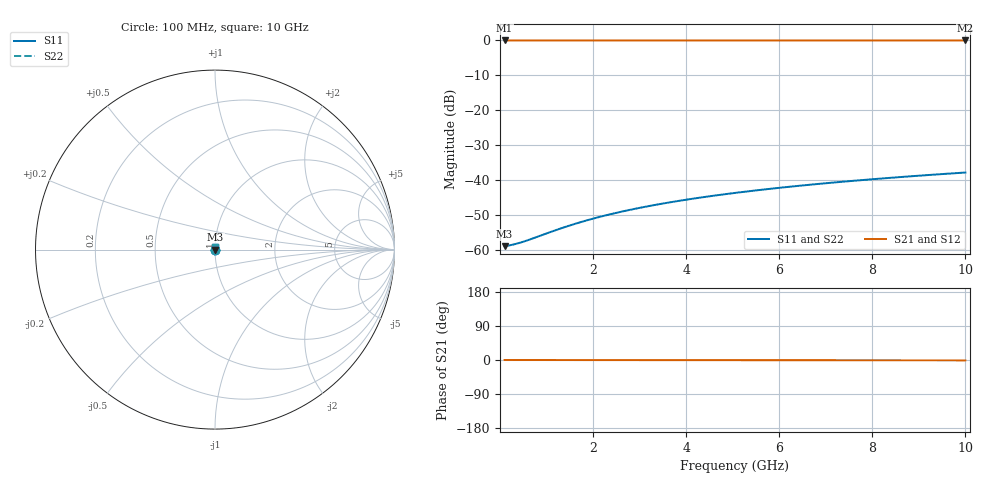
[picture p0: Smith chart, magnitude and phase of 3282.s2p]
# Hz S RI R 50.00
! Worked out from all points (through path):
!   100 points, 100 MHz to 10 GHz, reference 50 ohm
!   highest |S21| = -0.01 dB at 100 MHz (marker M1); lowest = 0.0 dB at 10 GHz (marker M2)
!   lowest |S11| = -58.9 dB at 100 MHz (marker M3), VSWR 1.00, Z = 50.1 + j0.0128 ohm
!   |S11| at or under -10 dB: start of sweep to end of sweep
!   |S22| runs from -58.9 to -37.8 dB; largest |S21 - S12| = 1e-14
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1e8  0.00113 0.000128  0.9989 -0.000167  0.9989 -0.000167  0.00113 0.000128
2e8  0.00114 0.000256  0.9989 -0.000335  0.9989 -0.000335  0.00114 0.000256
3e8  0.00115 0.000384  0.9989 -0.000502  0.9989 -0.000502  0.00115 0.000384
5e8  0.00115 0.000639  0.9988 -0.000837  0.9988 -0.000837  0.00115 0.000639
7e8  0.00116 0.000895  0.9988 -0.00117  0.9988 -0.00117  0.00116 0.000895
1.3e9  0.00118 0.00166  0.9988 -0.00218  0.9988 -0.00218  0.00118 0.00166
1.5e9  0.00118 0.00192  0.9988 -0.00251  0.9988 -0.00251  0.00118 0.00192
1.8e9  0.00119 0.0023  0.9988 -0.00301  0.9988 -0.00301  0.00119 0.0023
2.1e9  0.0012 0.00269  0.9988 -0.00352  0.9988 -0.00352  0.0012 0.00269
2.5e9  0.0012 0.0032  0.9988 -0.00419  0.9988 -0.00419  0.0012 0.0032
2.9e9  0.00121 0.00371  0.9988 -0.00486  0.9988 -0.00486  0.00121 0.00371
3.4e9  0.00123 0.00435  0.9988 -0.00569  0.9988 -0.00569  0.00123 0.00435
3.8e9  0.00124 0.00486  0.9988 -0.00636  0.9988 -0.00636  0.00124 0.00486
4.2e9  0.00125 0.00537  0.9987 -0.00703  0.9987 -0.00703  0.00125 0.00537
4.6e9  0.00126 0.00588  0.9987 -0.0077  0.9987 -0.0077  0.00126 0.00588
5.1e9  0.00127 0.00652  0.9987 -0.00854  0.9987 -0.00854  0.00127 0.00652
5.9e9  0.0013 0.00755  0.9987 -0.00988  0.9987 -0.00988  0.0013 0.00755
6.7e9  0.00132 0.00857  0.9987 -0.0112  0.9987 -0.0112  0.00132 0.00857
7.5e9  0.00135 0.0096  0.9986 -0.0126  0.9986 -0.0126  0.00135 0.0096
8.4e9  0.00139 0.0108  0.9986 -0.0141  0.9986 -0.0141  0.00139 0.0108
9.2e9  0.00143 0.0118  0.9986 -0.0154  0.9986 -0.0154  0.00143 0.0118
1e10  0.00147 0.0128  0.9985 -0.0168  0.9985 -0.0168  0.00147 0.0128
